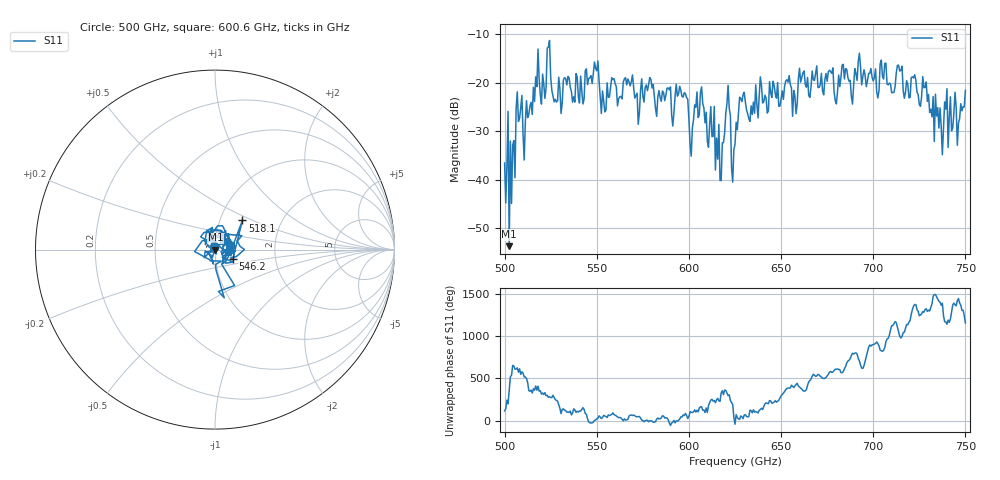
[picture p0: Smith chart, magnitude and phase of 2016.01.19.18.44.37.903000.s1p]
!Created with skrf (http://scikit-rf.org).
# GHz S RI R 50.0
!freq ReS11 ImS11
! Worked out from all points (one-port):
!   401 points, 500 GHz to 750 GHz, reference 50 ohm
!   lowest |S11| = -53.7 dB at 502.5 GHz (marker M1), VSWR 1.00, Z = 50.2 + j0.0154 ohm
!   |S11| at or under -10 dB: start of sweep to end of sweep
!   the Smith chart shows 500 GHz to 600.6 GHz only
!   S11 on the Smith chart (normalised r, x): 500 GHz: 0.99, +0.03; 518.1 GHz: 1.28, +0.44; 546.2 GHz: 1.22, -0.13; 600.6 GHz: 0.99, +0.04
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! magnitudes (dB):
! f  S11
! 500 GHz  -36.5
! 502.5 GHz  -53.7
! 507.5 GHz  -28.0
! 511.2 GHz  -28.1
! 518.1 GHz  -13.0
! 521.2 GHz  -20.3
! 524.4 GHz  -11.3
! 526.9 GHz  -23.9
! 531.2 GHz  -24.2
! 546.2 GHz  -18.9
! 562.5 GHz  -22.9
! 593.8 GHz  -22.7
! 598.1 GHz  -22.3
! 600.6 GHz  -32.7
! 606.9 GHz  -20.8
! 616.9 GHz  -40.1
! 621.2 GHz  -20.5
! 623.8 GHz  -40.5
! 625 GHz  -32.7
! 628.8 GHz  -23.9
! 656.2 GHz  -26.9
! 661.2 GHz  -18.8
! 687.5 GHz  -19.5
! 714.4 GHz  -17.6
! 718.8 GHz  -20.3
! 728.1 GHz  -20.9
! 736.9 GHz  -29.0
! 750 GHz  -21.6
